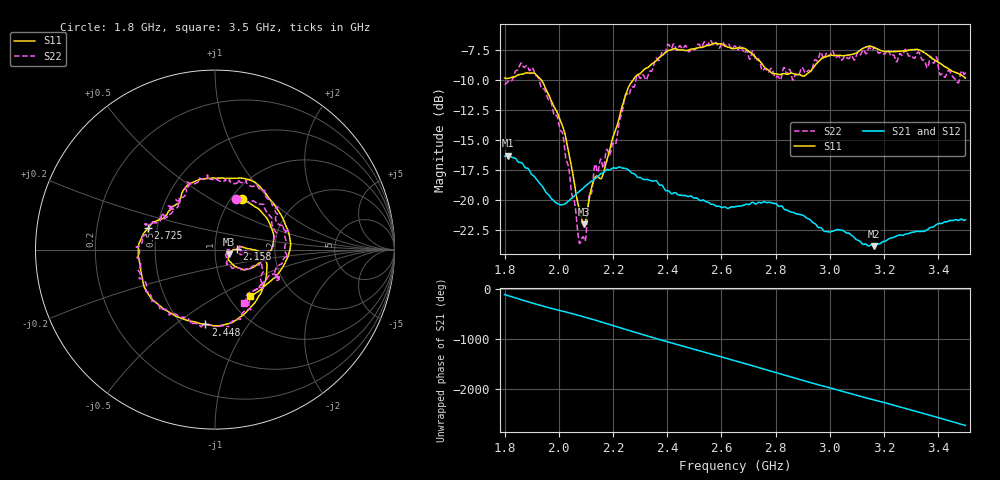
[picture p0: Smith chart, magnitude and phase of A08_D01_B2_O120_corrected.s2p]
! Created with skrf 1.9.0 (http://scikit-rf.org).
# Hz S RI R 50.0
!freq ReS11 ImS11 ReS21 ImS21 ReS12 ImS12 ReS22 ImS22
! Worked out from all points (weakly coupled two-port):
!   1601 points, 1.8 GHz to 3.5 GHz, reference 50 ohm
!   highest |S21| = -16.31 dB at 1.814 GHz (marker M1); lowest = -23.8 dB at 3.163 GHz (marker M2)
!   lowest |S11| = -22.0 dB at 2.093 GHz (marker M3), VSWR 1.17, Z = 58.1 - j2.95 ohm
!   |S11| at or under -10 dB: 1.935 GHz to 2.274 GHz (339.6 MHz wide, 16.1 % of centre)
!   |S22| runs from -23.6 to -6.7 dB; largest |S21 - S12| = 0.003
!   S11 on the Smith chart (normalised r, x): 1.8 GHz: 1.12, +0.71; 2.158 GHz: 1.28, +0.01; 2.448 GHz: 0.64, -0.65; 2.725 GHz: 0.45, +0.13; 3.5 GHz: 1.25, -0.72
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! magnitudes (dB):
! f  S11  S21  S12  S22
! 1.8 GHz  -9.9  -16.3  -16.3  -10.3
! 1.814 GHz  -9.9  -16.3  -16.3  -10.1
! 1.901 GHz  -9.4  -17.9  -17.8  -9.0
! 1.968 GHz  -11.5  -19.7  -19.8  -11.7
! 2.021 GHz  -14.3  -20.3  -20.3  -15.6
! 2.084 GHz  -21.5  -19.1  -19.1  -23.2
! 2.093 GHz  -22.0  -18.9  -19.0  -23.2
! 2.131 GHz  -18.2  -18.2  -18.2  -17.2
! 2.158 GHz  -18.2  -17.8  -17.7  -16.8
! 2.209 GHz  -14.2  -17.3  -17.3  -15.4
! 2.258 GHz  -10.6  -17.5  -17.5  -11.3
! 2.367 GHz  -8.2  -18.6  -18.6  -8.4
! 2.448 GHz  -7.5  -19.6  -19.6  -7.2
! 2.65 GHz  -7.4  -20.5  -20.5  -7.2
! 2.725 GHz  -8.1  -20.3  -20.3  -8.3
! 2.812 GHz  -9.6  -20.5  -20.4  -9.8
! 2.934 GHz  -9.2  -21.8  -21.8  -9.2
! 3.163 GHz  -7.3  -23.8  -23.8  -7.3
! 3.217 GHz  -7.7  -23.2  -23.2  -7.6
! 3.33 GHz  -7.5  -22.6  -22.6  -7.8
! 3.468 GHz  -9.4  -21.6  -21.6  -10.1
! 3.5 GHz  -9.9  -21.6  -21.6  -9.4
